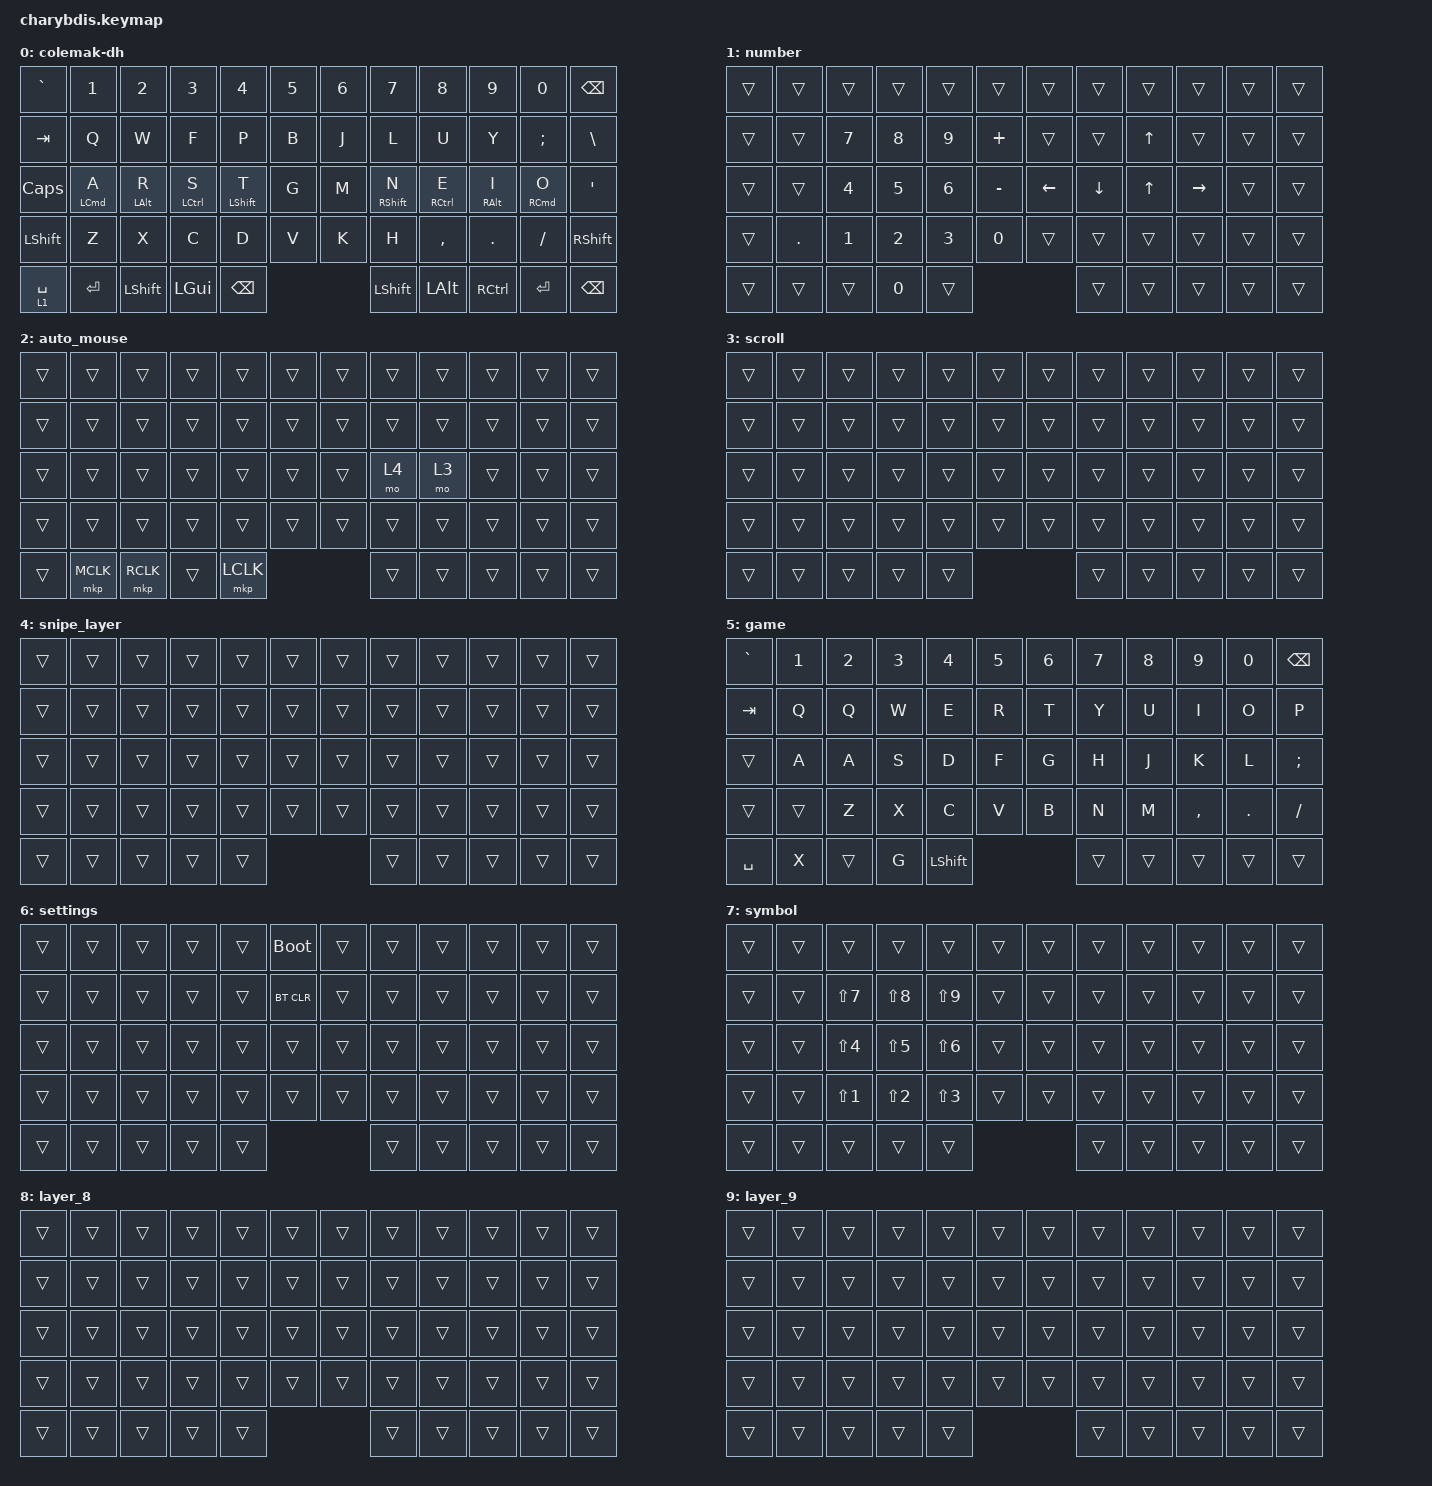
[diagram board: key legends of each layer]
#include <behaviors/mouse_keys.dtsi>
#include <dt-bindings/zmk/mouse.h>
#include <behaviors.dtsi>
#include <dt-bindings/zmk/bt.h>
#include <dt-bindings/zmk/keys.h>
#include <dt-bindings/zmk/pointing.h>

/ {
    behaviors {
        hml: homewrow_mods_left {
            compatible = "zmk,behavior-hold-tap";
            label = "homewrow_mods_left";
            bindings = <&kp>, <&kp>;

            #binding-cells = <2>;
            hold-trigger-key-positions = <6 7 8 9 10 11 18 19 20 21 22 23 30 31 32 33 34 35 42 43 44 45 46 47 53 54 55 56 57>;
            tapping-term-ms = <300>;
            flavor = "balanced";
            quick-tap-ms = <175>;
            require-prior-idle-ms = <250>;
            hold-trigger-on-release;
        };

        hmr: hmr {
            compatible = "zmk,behavior-hold-tap";
            label = "HMR";
            bindings = <&kp>, <&kp>;

            #binding-cells = <2>;
            tapping-term-ms = <300>;
            hold-trigger-key-positions = <0 1 12 13 14 15 16 17 24 25 26 27 28 29 36 37 38 39 40 41 48 49 50 51 52 2 3 4 5>;
            flavor = "balanced";
            quick-tap-ms = <175>;
            require-prior-idle-ms = <250>;
            hold-trigger-on-release;
        };

        tap_preferred: tap_preferred {
            compatible = "zmk,behavior-hold-tap";
            label = "TAP_PREFERRED";
            bindings = <&mo>, <&kp>;

            #binding-cells = <2>;
            tapping-term-ms = <40>;
            flavor = "tap-preferred";
        };
    };

    combos {
        compatible = "zmk,combos";

        minus {
            bindings = <&kp MINUS>;
            key-positions = <30 31>;
        };

        par {
            bindings = <&kp RIGHT_PARENTHESIS>;
            key-positions = <31 32>;
        };

        par2 {
            bindings = <&kp LEFT_PARENTHESIS>;
            key-positions = <27 28>;
        };

        underscore {
            bindings = <&kp UNDER>;
            key-positions = <42 43>;
        };

        bra {
            bindings = <&kp LEFT_BRACKET>;
            key-positions = <27 26>;
        };

        right {
            bindings = <&kp RIGHT_BRACKET>;
            key-positions = <32 33>;
        };

        equal {
            bindings = <&kp EQUAL>;
            key-positions = <40 41>;
        };

        backspace {
            bindings = <&kp BACKSPACE>;
            key-positions = <39 40>;
        };

        delete {
            bindings = <&kp DELETE>;
            key-positions = <39 38>;
        };
    };

    keymap {
        compatible = "zmk,keymap";

        colemak-dh {
            bindings = <
&kp GRAVE    &kp N1       &kp N2           &kp N3        &kp N4             &kp N5      &kp N6  &kp N7              &kp N8        &kp N9            &kp N0       &kp BSPC
&kp TAB      &kp Q        &kp W            &kp F         &kp P              &kp B       &kp J   &kp L               &kp U         &kp Y             &kp SEMI     &kp BSLH
&kp CAPS     &hml LCMD A  &hml LEFT_ALT R  &hml LCTRL S  &hml LEFT_SHIFT T  &kp G       &kp M   &hmr RIGHT_SHIFT N  &hmr RCTRL E  &hmr RIGHT_ALT I  &hmr RCMD O  &kp APOS
&kp LSHFT    &kp Z        &kp X            &kp C         &kp D              &kp V       &kp K   &kp H               &kp COMMA     &kp DOT           &kp FSLH     &kp RSHFT
&lt 1 SPACE  &kp ENTER    &kp LSHFT        &kp LGUI      &kp BSPC                               &kp LSHFT           &kp LALT      &kp RCTRL         &kp ENTER    &kp BSPC
            >;
        };

        number {
            bindings = <
&trans  &trans   &trans  &trans  &trans  &trans         &trans    &trans    &trans        &trans     &trans  &trans
&trans  &trans   &kp N7  &kp N8  &kp N9  &kp PLUS       &trans    &trans    &kp UP        &trans     &trans  &trans
&trans  &trans   &kp N4  &kp N5  &kp N6  &kp MINUS      &kp LEFT  &kp DOWN  &kp UP_ARROW  &kp RIGHT  &trans  &trans
&trans  &kp DOT  &kp N1  &kp N2  &kp N3  &kp N0         &trans    &trans    &trans        &trans     &trans  &trans
&trans  &trans   &trans  &kp N0  &trans                 &trans    &trans    &trans    &trans        &trans
            >;
        };

        auto_mouse {
            bindings = <
&trans  &trans     &trans     &trans  &trans     &trans      &trans  &trans  &trans  &trans  &trans  &trans
&trans  &trans     &trans     &trans  &trans     &trans      &trans  &trans  &trans  &trans  &trans  &trans
&trans  &trans     &trans     &trans  &trans     &trans      &trans  &mo 4   &mo 3   &trans  &trans  &trans
&trans  &trans     &trans     &trans  &trans     &trans      &trans  &trans  &trans  &trans  &trans  &trans
&trans  &mkp MCLK  &mkp RCLK  &trans  &mkp LCLK   &trans    &trans      &trans  &trans  &trans
            >;
        };

        scroll {
            bindings = <
&trans  &trans  &trans  &trans  &trans  &trans      &trans  &trans  &trans  &trans  &trans  &trans
&trans  &trans  &trans  &trans  &trans  &trans      &trans  &trans  &trans  &trans  &trans  &trans
&trans  &trans  &trans  &trans  &trans  &trans      &trans  &trans  &trans  &trans  &trans  &trans
&trans  &trans  &trans  &trans  &trans  &trans      &trans  &trans  &trans  &trans  &trans  &trans
&trans  &trans  &trans  &trans  &trans            &trans    &trans   &trans  &trans  &trans
            >;
        };

        snipe_layer {
            bindings = <
&trans  &trans  &trans  &trans  &trans  &trans      &trans  &trans  &trans  &trans  &trans  &trans
&trans  &trans  &trans  &trans  &trans  &trans      &trans  &trans  &trans  &trans  &trans  &trans
&trans  &trans  &trans  &trans  &trans  &trans      &trans  &trans  &trans  &trans  &trans  &trans
&trans  &trans  &trans  &trans  &trans  &trans      &trans  &trans  &trans  &trans  &trans  &trans
&trans  &trans  &trans  &trans  &trans              &trans  &trans  &trans  &trans  &trans
            >;
        };

        game {
            bindings = <
&kp GRAVE  &kp N1  &kp N2  &kp N3  &kp N4     &kp N5      &kp N6  &kp N7  &kp N8  &kp N9     &kp N0   &kp BSPC
&kp TAB    &kp Q   &kp Q   &kp W   &kp E      &kp R       &kp T   &kp Y   &kp U   &kp I      &kp O    &kp P
&trans     &kp A   &kp A   &kp S   &kp D      &kp F       &kp G   &kp H   &kp J   &kp K      &kp L    &kp SEMI
&trans     &trans  &kp Z   &kp X   &kp C      &kp V       &kp B   &kp N   &kp M   &kp COMMA  &kp DOT  &kp FSLH
&kp SPACE  &kp X   &trans  &kp G   &kp LSHFT                      &trans  &trans  &trans     &trans   &trans
            >;
        };

        settings {
            bindings = <
&trans  &trans  &trans  &trans  &trans  &bootloader      &trans  &trans  &trans  &trans  &trans  &trans
&trans  &trans  &trans  &trans  &trans  &bt BT_CLR       &trans  &trans  &trans  &trans  &trans  &trans
&trans  &trans  &trans  &trans  &trans  &trans           &trans  &trans  &trans  &trans  &trans  &trans
&trans  &trans  &trans  &trans  &trans  &trans           &trans  &trans  &trans  &trans  &trans  &trans
&trans  &trans  &trans  &trans  &trans                   &trans  &trans  &trans  &trans  &trans
            >;
        };

        symbol {
            bindings = <
&trans  &trans  &trans      &trans      &trans      &trans      &trans  &trans  &trans  &trans  &trans  &trans
&trans  &trans  &kp LS(N7)  &kp LS(N8)  &kp LS(N9)  &trans      &trans  &trans  &trans  &trans  &trans  &trans
&trans  &trans  &kp LS(N4)  &kp LS(N5)  &kp LS(N6)  &trans      &trans  &trans  &trans  &trans  &trans  &trans
&trans  &trans  &kp LS(N1)  &kp LS(N2)  &kp LS(N3)  &trans      &trans  &trans  &trans  &trans  &trans  &trans
&trans  &trans  &trans      &trans      &trans                  &trans  &trans  &trans  &trans  &trans
            >;
        };

        layer_8 {
            bindings = <
&trans  &trans  &trans  &trans  &trans  &trans      &trans  &trans  &trans  &trans  &trans  &trans
&trans  &trans  &trans  &trans  &trans  &trans      &trans  &trans  &trans  &trans  &trans  &trans
&trans  &trans  &trans  &trans  &trans  &trans      &trans  &trans  &trans  &trans  &trans  &trans
&trans  &trans  &trans  &trans  &trans  &trans      &trans  &trans  &trans  &trans  &trans  &trans
&trans  &trans  &trans  &trans  &trans                      &trans  &trans  &trans  &trans  &trans
            >;
        };

        layer_9 {
            bindings = <
&trans  &trans  &trans  &trans  &trans  &trans      &trans  &trans  &trans  &trans  &trans  &trans
&trans  &trans  &trans  &trans  &trans  &trans      &trans  &trans  &trans  &trans  &trans  &trans
&trans  &trans  &trans  &trans  &trans  &trans      &trans  &trans  &trans  &trans  &trans  &trans
&trans  &trans  &trans  &trans  &trans  &trans      &trans  &trans  &trans  &trans  &trans  &trans
&trans  &trans  &trans  &trans  &trans                      &trans  &trans  &trans  &trans  &trans
            >;
        };
    };
};
